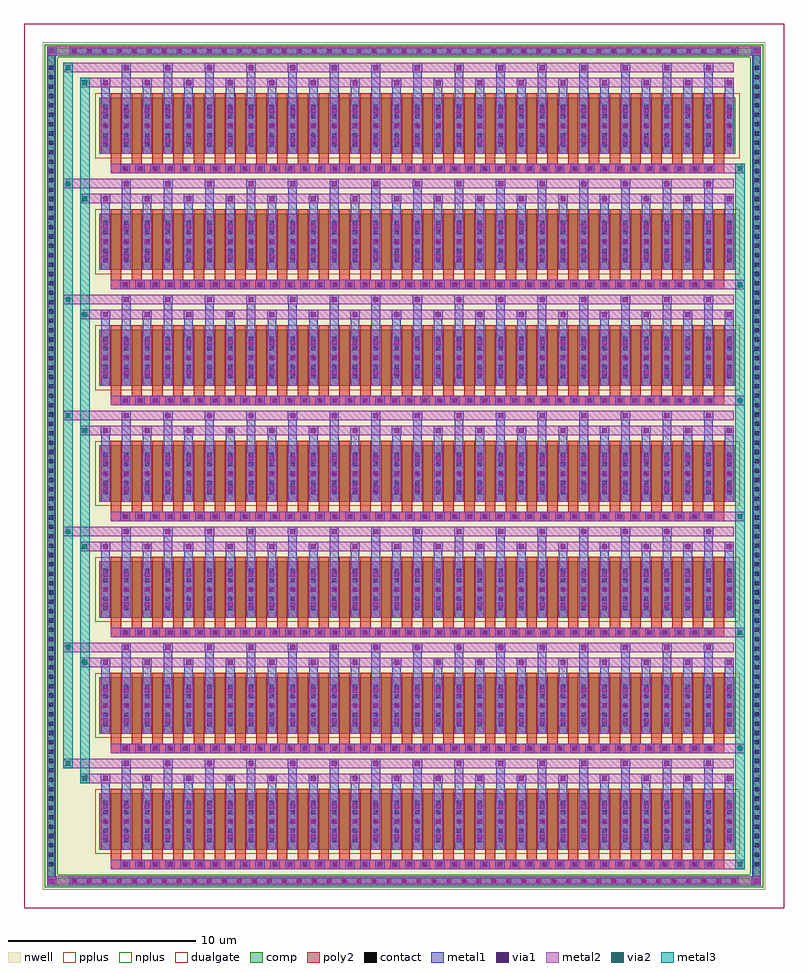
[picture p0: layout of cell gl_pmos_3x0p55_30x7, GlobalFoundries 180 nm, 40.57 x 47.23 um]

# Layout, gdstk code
import gdstk
lib = gdstk.Library(unit=1e-6, precision=1e-09)
def R(c, l, rs):  # rectangles x0, y0, x1, y1
    for r in rs: c.add(gdstk.rectangle(r[:2], r[2:], *l))
def A(c, l, x, y, w, h, nx, ny, dx, dy):  # array of equal rectangles
    R(c, l, [(x+i*dx, y+j*dy, x+i*dx+w, y+j*dy+h) for i in range(nx) for j in range(ny)])
def P(c, l, *ps):  # polygons
    for p in ps: c.add(gdstk.Polygon(p, *l))
nwell = (21, 0)
comp = (22, 0)
poly2 = (30, 0)
pplus = (31, 0)
nplus = (32, 0)
contact = (33, 0)
metal1 = (34, 0)
via1 = (35, 0)
metal2 = (36, 0)
via2 = (38, 0)
metal3 = (42, 0)
dualgate = (55, 0)

gl_pmos_3x0p55_30x7 = lib.new_cell('gl_pmos_3x0p55_30x7')
R(gl_pmos_3x0p55_30x7, nwell, [(-19.285,-22.615,19.285,22.615), (-19.125,-22.455,19.125,22.455)])
A(gl_pmos_3x0p55_30x7, comp, -17.78, -22.335, 0.36, 0.36, 45, 2, 0.8, 44.31)
A(gl_pmos_3x0p55_30x7, comp, -19.005, -21.43, 0.36, 0.36, 1, 86, 0, 0.5)
A(gl_pmos_3x0p55_30x7, comp, 18.645, -21.43, 0.36, 0.36, 1, 86, 0, 0.5)
A(gl_pmos_3x0p55_30x7, comp, -16.255, -20.475, 33.94, 3, 1, 7, 0, 6.19)
R(gl_pmos_3x0p55_30x7, comp, [(-17.78,-22.335,17.78,-21.975), (-19.005,-21.43,-18.645,21.43), (18.645,-21.43,19.005,21.43), (-17.78,21.975,17.78,22.335)])
P(gl_pmos_3x0p55_30x7, comp, [(-19.005,-22.335),(-19.005,-21.975),(-18.645,-21.975),(18.645,-21.975),(18.645,21.975),(-18.645,21.975),(-18.645,-21.975),(-19.005,-21.975),(-19.005,22.335),(19.005,22.335),(19.005,-22.335)])
A(gl_pmos_3x0p55_30x7, poly2, -15.655, -21.515, 32.74, 0.5, 1, 7, 0, 6.19)
A(gl_pmos_3x0p55_30x7, poly2, -15.065, -21.445, 0.36, 0.36, 40, 7, 0.8, 6.19)
A(gl_pmos_3x0p55_30x7, poly2, -15.655, -21.015, 0.55, 0.3, 30, 7, 1.11, 6.19)
A(gl_pmos_3x0p55_30x7, poly2, -15.655, -20.715, 0.55, 3.48, 30, 7, 1.11, 6.19)
A(gl_pmos_3x0p55_30x7, pplus, -16.485, -20.705, 34.4, 3.46, 1, 7, 0, 6.19)
P(gl_pmos_3x0p55_30x7, nplus, [(-19.165,-22.495),(-19.165,-21.815),(-18.485,-21.815),(18.485,-21.815),(18.485,21.815),(-18.485,21.815),(-18.485,-21.815),(-19.165,-21.815),(-19.165,22.495),(19.165,22.495),(19.165,-22.495)])
A(gl_pmos_3x0p55_30x7, contact, -17.71, -22.265, 0.22, 0.22, 45, 2, 0.8, 44.31)
A(gl_pmos_3x0p55_30x7, contact, -14.995, -21.375, 0.22, 0.22, 40, 7, 0.8, 6.19)
A(gl_pmos_3x0p55_30x7, contact, -18.935, -21.36, 0.22, 0.22, 1, 86, 0, 0.5)
A(gl_pmos_3x0p55_30x7, contact, 18.715, -21.36, 0.22, 0.22, 1, 86, 0, 0.5)
A(gl_pmos_3x0p55_30x7, contact, -16.045, -20.085, 0.22, 0.22, 31, 5, 1.11, 0.5)
A(gl_pmos_3x0p55_30x7, contact, -16.045, -13.895, 0.22, 0.22, 31, 5, 1.11, 0.5)
A(gl_pmos_3x0p55_30x7, contact, -16.045, -7.705, 0.22, 0.22, 31, 5, 1.11, 0.5)
A(gl_pmos_3x0p55_30x7, contact, -16.045, -1.515, 0.22, 0.22, 31, 5, 1.11, 0.5)
A(gl_pmos_3x0p55_30x7, contact, -16.045, 4.675, 0.22, 0.22, 31, 5, 1.11, 0.5)
A(gl_pmos_3x0p55_30x7, contact, -16.045, 10.865, 0.22, 0.22, 31, 5, 1.11, 0.5)
A(gl_pmos_3x0p55_30x7, contact, -16.045, 17.055, 0.22, 0.22, 31, 5, 1.11, 0.5)
A(gl_pmos_3x0p55_30x7, metal1, -17.85, -22.405, 0.5, 0.5, 45, 2, 0.8, 44.31)
A(gl_pmos_3x0p55_30x7, metal1, -15.135, -21.515, 0.5, 0.5, 40, 7, 0.8, 6.19)
A(gl_pmos_3x0p55_30x7, metal1, -19.055, -21.48, 0.46, 0.46, 1, 86, 0, 0.5)
A(gl_pmos_3x0p55_30x7, metal1, 18.595, -21.48, 0.46, 0.46, 1, 86, 0, 0.5)
A(gl_pmos_3x0p55_30x7, metal1, -16.165, -20.475, 0.46, 3, 31, 7, 1.11, 6.19)
A(gl_pmos_3x0p55_30x7, metal1, -16.165, -20.205, 0.46, 0.46, 31, 5, 1.11, 0.5)
A(gl_pmos_3x0p55_30x7, metal1, -16.185, -20.025, 0.5, 2.1, 31, 7, 1.11, 6.19)
A(gl_pmos_3x0p55_30x7, metal1, -16.185, -20.025, 0.5, 0.5, 31, 3, 1.11, 0.8)
A(gl_pmos_3x0p55_30x7, metal1, -16.165, -17.475, 0.46, 1.05, 16, 7, 2.22, 6.19)
A(gl_pmos_3x0p55_30x7, metal1, -15.055, -17.475, 0.46, 1.85, 15, 7, 2.22, 6.19)
A(gl_pmos_3x0p55_30x7, metal1, -16.185, -16.925, 0.5, 0.5, 16, 7, 2.22, 6.19)
A(gl_pmos_3x0p55_30x7, metal1, -15.075, -16.125, 0.5, 0.5, 15, 7, 2.22, 6.19)
A(gl_pmos_3x0p55_30x7, metal1, -16.165, -14.015, 0.46, 0.46, 31, 5, 1.11, 0.5)
A(gl_pmos_3x0p55_30x7, metal1, -16.185, -13.835, 0.5, 0.5, 31, 3, 1.11, 0.8)
A(gl_pmos_3x0p55_30x7, metal1, -16.165, -7.825, 0.46, 0.46, 31, 5, 1.11, 0.5)
A(gl_pmos_3x0p55_30x7, metal1, -16.185, -7.645, 0.5, 0.5, 31, 3, 1.11, 0.8)
A(gl_pmos_3x0p55_30x7, metal1, -16.165, -1.635, 0.46, 0.46, 31, 5, 1.11, 0.5)
A(gl_pmos_3x0p55_30x7, metal1, -16.185, -1.455, 0.5, 0.5, 31, 3, 1.11, 0.8)
A(gl_pmos_3x0p55_30x7, metal1, -16.165, 4.555, 0.46, 0.46, 31, 5, 1.11, 0.5)
A(gl_pmos_3x0p55_30x7, metal1, -16.185, 4.735, 0.5, 0.5, 31, 3, 1.11, 0.8)
A(gl_pmos_3x0p55_30x7, metal1, -16.165, 10.745, 0.46, 0.46, 31, 5, 1.11, 0.5)
A(gl_pmos_3x0p55_30x7, metal1, -16.185, 10.925, 0.5, 0.5, 31, 3, 1.11, 0.8)
A(gl_pmos_3x0p55_30x7, metal1, -16.165, 16.935, 0.46, 0.46, 31, 5, 1.11, 0.5)
A(gl_pmos_3x0p55_30x7, metal1, -16.185, 17.115, 0.5, 0.5, 31, 3, 1.11, 0.8)
R(gl_pmos_3x0p55_30x7, metal1, [(-19.055,-22.405,-18.555,-21.905), (-19.055,-22.405,-18.555,-21.905), (-19.055,-22.405,-18.595,-21.975), (-17.85,-22.405,17.85,-21.905), (18.555,-22.405,19.055,-21.905), (18.555,-22.405,19.055,-21.905), (18.595,-22.405,19.055,-21.975), (-19.055,-21.975,-18.595,21.975), (18.595,-21.975,19.055,21.975), (-19.055,21.905,-18.555,22.405), (-19.055,21.905,-18.555,22.405), (-17.85,21.905,17.85,22.405), (18.555,21.905,19.055,22.405), (18.555,21.905,19.055,22.405), (-19.055,21.975,-18.595,22.405), (18.595,21.975,19.055,22.405)])
A(gl_pmos_3x0p55_30x7, via1, -17.73, -22.285, 0.26, 0.26, 45, 2, 0.8, 44.31)
A(gl_pmos_3x0p55_30x7, via1, -15.015, -21.395, 0.26, 0.26, 40, 7, 0.8, 6.19)
A(gl_pmos_3x0p55_30x7, via1, -16.065, -19.905, 0.26, 0.26, 31, 3, 1.11, 0.8)
A(gl_pmos_3x0p55_30x7, via1, -16.065, -16.805, 0.26, 0.26, 16, 7, 2.22, 6.19)
A(gl_pmos_3x0p55_30x7, via1, -14.955, -16.005, 0.26, 0.26, 15, 7, 2.22, 6.19)
A(gl_pmos_3x0p55_30x7, via1, -16.065, -13.715, 0.26, 0.26, 31, 3, 1.11, 0.8)
A(gl_pmos_3x0p55_30x7, via1, -16.065, -7.525, 0.26, 0.26, 31, 3, 1.11, 0.8)
A(gl_pmos_3x0p55_30x7, via1, -16.065, -1.335, 0.26, 0.26, 31, 3, 1.11, 0.8)
A(gl_pmos_3x0p55_30x7, via1, -16.065, 4.855, 0.26, 0.26, 31, 3, 1.11, 0.8)
A(gl_pmos_3x0p55_30x7, via1, -16.065, 11.045, 0.26, 0.26, 31, 3, 1.11, 0.8)
A(gl_pmos_3x0p55_30x7, via1, -16.065, 17.235, 0.26, 0.26, 31, 3, 1.11, 0.8)
R(gl_pmos_3x0p55_30x7, via1, [(-18.935,-22.285,-18.675,-22.025), (18.675,-22.285,18.935,-22.025), (-18.935,22.025,-18.675,22.285), (18.675,22.025,18.935,22.285)])
A(gl_pmos_3x0p55_30x7, metal2, -17.85, -22.405, 0.5, 0.5, 45, 2, 0.8, 44.31)
A(gl_pmos_3x0p55_30x7, metal2, -15.655, -21.515, 32.74, 0.5, 1, 7, 0, 6.19)
A(gl_pmos_3x0p55_30x7, metal2, -15.135, -21.515, 0.5, 0.5, 40, 7, 0.8, 6.19)
A(gl_pmos_3x0p55_30x7, metal2, -16.185, -20.475, 0.5, 3, 31, 7, 1.11, 6.19)
A(gl_pmos_3x0p55_30x7, metal2, -16.185, -20.025, 0.5, 0.5, 31, 3, 1.11, 0.8)
A(gl_pmos_3x0p55_30x7, metal2, -16.185, -16.925, 0.5, 0.5, 16, 7, 2.22, 6.19)
A(gl_pmos_3x0p55_30x7, metal2, -15.075, -16.125, 0.5, 0.5, 15, 7, 2.22, 6.19)
A(gl_pmos_3x0p55_30x7, metal2, -16.185, -13.835, 0.5, 0.5, 31, 3, 1.11, 0.8)
A(gl_pmos_3x0p55_30x7, metal2, -16.185, -7.645, 0.5, 0.5, 31, 3, 1.11, 0.8)
A(gl_pmos_3x0p55_30x7, metal2, -16.185, -1.455, 0.5, 0.5, 31, 3, 1.11, 0.8)
A(gl_pmos_3x0p55_30x7, metal2, -16.185, 4.735, 0.5, 0.5, 31, 3, 1.11, 0.8)
A(gl_pmos_3x0p55_30x7, metal2, -16.185, 10.925, 0.5, 0.5, 31, 3, 1.11, 0.8)
A(gl_pmos_3x0p55_30x7, metal2, -16.185, 17.115, 0.5, 0.5, 31, 3, 1.11, 0.8)
R(gl_pmos_3x0p55_30x7, metal2, [(-19.055,-22.405,-18.555,-21.905), (-19.055,-22.405,-18.555,-21.905), (-19.055,-22.405,-18.645,-21.905), (-18.645,-22.405,18.645,-21.905), (18.555,-22.405,19.055,-21.905), (18.555,-22.405,19.055,-21.905), (18.645,-22.405,19.055,-21.905), (17.085,-21.515,18.185,-21.015), (17.685,-21.515,18.185,-21.015), (-17.285,-16.925,-16.785,-16.425), (-17.285,-16.925,-16.185,-16.425), (-16.185,-16.925,17.615,-16.425), (-18.185,-16.125,-17.685,-15.625), (-18.185,-16.125,-16.185,-15.625), (-16.185,-16.125,17.615,-15.625), (17.085,-15.325,18.185,-14.825), (17.085,-15.325,18.185,-14.825), (17.685,-15.325,18.185,-14.825), (17.685,-15.325,18.185,-14.825), (-17.285,-10.735,-16.785,-10.235), (-17.285,-10.735,-16.785,-10.235), (-17.285,-10.735,-16.185,-10.235), (-17.285,-10.735,-16.185,-10.235), (-16.185,-10.735,17.615,-10.235), (-18.185,-9.935,-17.685,-9.435), (-18.185,-9.935,-17.685,-9.435), (-18.185,-9.935,-16.185,-9.435), (-18.185,-9.935,-16.185,-9.435), (-16.185,-9.935,17.615,-9.435), (17.085,-9.135,18.185,-8.635), (17.085,-9.135,18.185,-8.635), (17.685,-9.135,18.185,-8.635), (17.685,-9.135,18.185,-8.635), (-17.285,-4.545,-16.785,-4.045), (-17.285,-4.545,-16.785,-4.045), (-17.285,-4.545,-16.185,-4.045), (-17.285,-4.545,-16.185,-4.045), (-16.185,-4.545,17.615,-4.045), (-18.185,-3.745,-17.685,-3.245), (-18.185,-3.745,-17.685,-3.245), (-18.185,-3.745,-16.185,-3.245), (-18.185,-3.745,-16.185,-3.245), (-16.185,-3.745,17.615,-3.245), (17.085,-2.945,18.185,-2.445), (17.085,-2.945,18.185,-2.445), (17.685,-2.945,18.185,-2.445), (17.685,-2.945,18.185,-2.445), (-17.285,1.645,-16.785,2.145), (-17.285,1.645,-16.785,2.145), (-17.285,1.645,-16.185,2.145), (-17.285,1.645,-16.185,2.145), (-16.185,1.645,17.615,2.145), (-18.185,2.445,-17.685,2.945), (-18.185,2.445,-17.685,2.945), (-18.185,2.445,-16.185,2.945), (-18.185,2.445,-16.185,2.945), (-16.185,2.445,17.615,2.945), (17.085,3.245,18.185,3.745), (17.085,3.245,18.185,3.745), (17.685,3.245,18.185,3.745), (17.685,3.245,18.185,3.745), (-17.285,7.835,-16.785,8.335), (-17.285,7.835,-16.785,8.335), (-17.285,7.835,-16.185,8.335), (-17.285,7.835,-16.185,8.335), (-16.185,7.835,17.615,8.335), (-18.185,8.635,-17.685,9.135), (-18.185,8.635,-17.685,9.135), (-18.185,8.635,-16.185,9.135), (-18.185,8.635,-16.185,9.135), (-16.185,8.635,17.615,9.135), (17.085,9.435,18.185,9.935), (17.085,9.435,18.185,9.935), (17.685,9.435,18.185,9.935), (17.685,9.435,18.185,9.935), (-17.285,14.025,-16.785,14.525), (-17.285,14.025,-16.785,14.525), (-17.285,14.025,-16.185,14.525), (-17.285,14.025,-16.185,14.525), (-16.185,14.025,17.615,14.525), (-18.185,14.825,-17.685,15.325), (-18.185,14.825,-17.685,15.325), (-18.185,14.825,-16.185,15.325), (-18.185,14.825,-16.185,15.325), (-16.185,14.825,17.615,15.325), (17.085,15.625,18.185,16.125), (17.685,15.625,18.185,16.125), (-17.285,20.215,-16.785,20.715), (-17.285,20.215,-16.185,20.715), (-16.185,20.215,17.615,20.715), (-18.185,21.015,-17.685,21.515), (-18.185,21.015,-16.185,21.515), (-16.185,21.015,17.615,21.515), (-19.055,21.905,-18.555,22.405), (-19.055,21.905,-18.555,22.405), (-19.055,21.905,-18.645,22.405), (-18.645,21.905,18.645,22.405), (18.555,21.905,19.055,22.405), (18.555,21.905,19.055,22.405), (18.645,21.905,19.055,22.405)])
R(gl_pmos_3x0p55_30x7, via2, [(17.805,-21.395,18.065,-21.135), (-17.165,-16.805,-16.905,-16.545), (-18.065,-16.005,-17.805,-15.745), (17.805,-15.205,18.065,-14.945), (17.805,-15.205,18.065,-14.945), (-17.165,-10.615,-16.905,-10.355), (-17.165,-10.615,-16.905,-10.355), (-18.065,-9.815,-17.805,-9.555), (-18.065,-9.815,-17.805,-9.555), (17.805,-9.015,18.065,-8.755), (17.805,-9.015,18.065,-8.755), (-17.165,-4.425,-16.905,-4.165), (-17.165,-4.425,-16.905,-4.165), (-18.065,-3.625,-17.805,-3.365), (-18.065,-3.625,-17.805,-3.365), (17.805,-2.825,18.065,-2.565), (17.805,-2.825,18.065,-2.565), (-17.165,1.765,-16.905,2.025), (-17.165,1.765,-16.905,2.025), (-18.065,2.565,-17.805,2.825), (-18.065,2.565,-17.805,2.825), (17.805,3.365,18.065,3.625), (17.805,3.365,18.065,3.625), (-17.165,7.955,-16.905,8.215), (-17.165,7.955,-16.905,8.215), (-18.065,8.755,-17.805,9.015), (-18.065,8.755,-17.805,9.015), (17.805,9.555,18.065,9.815), (17.805,9.555,18.065,9.815), (-17.165,14.145,-16.905,14.405), (-17.165,14.145,-16.905,14.405), (-18.065,14.945,-17.805,15.205), (-18.065,14.945,-17.805,15.205), (17.805,15.745,18.065,16.005), (-17.165,20.335,-16.905,20.595), (-18.065,21.135,-17.805,21.395)])
A(gl_pmos_3x0p55_30x7, metal3, 17.685, -21.515, 0.5, 6.69, 1, 6, 0, 6.19)
A(gl_pmos_3x0p55_30x7, metal3, -17.285, -16.925, 0.5, 6.69, 1, 6, 0, 6.19)
A(gl_pmos_3x0p55_30x7, metal3, -18.185, -16.125, 0.5, 6.69, 1, 6, 0, 6.19)
R(gl_pmos_3x0p55_30x7, metal3, [(17.685,-21.515,18.185,-21.015), (17.685,-21.515,18.185,-21.015), (-17.285,-16.925,-16.785,-16.425), (-17.285,-16.925,-16.785,-16.425), (-18.185,-16.125,-17.685,-15.625), (-18.185,-16.125,-17.685,-15.625), (17.685,-15.325,18.185,-14.825), (17.685,-15.325,18.185,-14.825), (17.685,-15.325,18.185,-14.825), (17.685,-15.325,18.185,-14.825), (-17.285,-10.735,-16.785,-10.235), (-17.285,-10.735,-16.785,-10.235), (-17.285,-10.735,-16.785,-10.235), (-17.285,-10.735,-16.785,-10.235), (-18.185,-9.935,-17.685,-9.435), (-18.185,-9.935,-17.685,-9.435), (-18.185,-9.935,-17.685,-9.435), (-18.185,-9.935,-17.685,-9.435), (17.685,-9.135,18.185,-8.635), (17.685,-9.135,18.185,-8.635), (17.685,-9.135,18.185,-8.635), (17.685,-9.135,18.185,-8.635), (-17.285,-4.545,-16.785,-4.045), (-17.285,-4.545,-16.785,-4.045), (-17.285,-4.545,-16.785,-4.045), (-17.285,-4.545,-16.785,-4.045), (-18.185,-3.745,-17.685,-3.245), (-18.185,-3.745,-17.685,-3.245), (-18.185,-3.745,-17.685,-3.245), (-18.185,-3.745,-17.685,-3.245), (17.685,-2.945,18.185,-2.445), (17.685,-2.945,18.185,-2.445), (17.685,-2.945,18.185,-2.445), (17.685,-2.945,18.185,-2.445), (-17.285,1.645,-16.785,2.145), (-17.285,1.645,-16.785,2.145), (-17.285,1.645,-16.785,2.145), (-17.285,1.645,-16.785,2.145), (-18.185,2.445,-17.685,2.945), (-18.185,2.445,-17.685,2.945), (-18.185,2.445,-17.685,2.945), (-18.185,2.445,-17.685,2.945), (17.685,3.245,18.185,3.745), (17.685,3.245,18.185,3.745), (17.685,3.245,18.185,3.745), (17.685,3.245,18.185,3.745), (-17.285,7.835,-16.785,8.335), (-17.285,7.835,-16.785,8.335), (-17.285,7.835,-16.785,8.335), (-17.285,7.835,-16.785,8.335), (-18.185,8.635,-17.685,9.135), (-18.185,8.635,-17.685,9.135), (-18.185,8.635,-17.685,9.135), (-18.185,8.635,-17.685,9.135), (17.685,9.435,18.185,9.935), (17.685,9.435,18.185,9.935), (17.685,9.435,18.185,9.935), (17.685,9.435,18.185,9.935), (-17.285,14.025,-16.785,14.525), (-17.285,14.025,-16.785,14.525), (-17.285,14.025,-16.785,14.525), (-17.285,14.025,-16.785,14.525), (-18.185,14.825,-17.685,15.325), (-18.185,14.825,-17.685,15.325), (-18.185,14.825,-17.685,15.325), (-18.185,14.825,-17.685,15.325), (17.685,15.625,18.185,16.125), (17.685,15.625,18.185,16.125), (-17.285,20.215,-16.785,20.715), (-17.285,20.215,-16.785,20.715), (-18.185,21.015,-17.685,21.515), (-18.185,21.015,-17.685,21.515)])
P(gl_pmos_3x0p55_30x7, metal3, [(18.185,15.625),(18.185,16.125),(18.185,16.125),(18.185,15.625)],
  [(18.185,3.245),(18.185,3.745),(18.185,3.745),(18.185,3.245)],
  [(18.185,9.435),(18.185,9.935),(18.185,9.935),(18.185,9.435)],
  [(18.185,3.245),(18.185,3.745),(18.185,3.745),(18.185,3.245)],
  [(18.185,9.435),(18.185,9.935),(18.185,9.935),(18.185,9.435)],
  [(-17.685,14.825),(-17.685,15.325),(-17.685,15.325),(-17.685,14.825)],
  [(-17.685,21.015),(-17.685,21.515),(-17.685,21.515),(-17.685,21.015)],
  [(-17.685,8.635),(-17.685,9.135),(-17.685,9.135),(-17.685,8.635)],
  [(-17.685,14.825),(-17.685,15.325),(-17.685,15.325),(-17.685,14.825)],
  [(-16.785,7.835),(-16.785,8.335),(-16.785,8.335),(-16.785,7.835)],
  [(-16.785,14.025),(-16.785,14.525),(-16.785,14.525),(-16.785,14.025)],
  [(-16.785,14.025),(-16.785,14.525),(-16.785,14.525),(-16.785,14.025)],
  [(-16.785,20.215),(-16.785,20.715),(-16.785,20.715),(-16.785,20.215)],
  [(-17.685,2.445),(-17.685,2.945),(-17.685,2.945),(-17.685,2.445)],
  [(-17.685,8.635),(-17.685,9.135),(-17.685,9.135),(-17.685,8.635)],
  [(-16.785,1.645),(-16.785,2.145),(-16.785,2.145),(-16.785,1.645)],
  [(-16.785,7.835),(-16.785,8.335),(-16.785,8.335),(-16.785,7.835)],
  [(-17.685,2.445),(-17.685,2.945),(-17.685,2.945),(-17.685,2.445)],
  [(-16.785,1.645),(-16.785,2.145),(-16.785,2.145),(-16.785,1.645)],
  [(-16.785,-4.545),(-16.785,-4.045),(-16.785,-4.045),(-16.785,-4.545)],
  [(-17.685,-3.745),(-17.685,-3.245),(-17.685,-3.245),(-17.685,-3.745)],
  [(-17.685,-9.935),(-17.685,-9.435),(-17.685,-9.435),(-17.685,-9.935)],
  [(-17.685,-3.745),(-17.685,-3.245),(-17.685,-3.245),(-17.685,-3.745)],
  [(-16.785,-10.735),(-16.785,-10.235),(-16.785,-10.235),(-16.785,-10.735)],
  [(-16.785,-4.545),(-16.785,-4.045),(-16.785,-4.045),(-16.785,-4.545)],
  [(-17.685,-16.125),(-17.685,-15.625),(-17.685,-15.625),(-17.685,-16.125)],
  [(-17.685,-9.935),(-17.685,-9.435),(-17.685,-9.435),(-17.685,-9.935)],
  [(-16.785,-16.925),(-16.785,-16.425),(-16.785,-16.425),(-16.785,-16.925)],
  [(-16.785,-10.735),(-16.785,-10.235),(-16.785,-10.235),(-16.785,-10.735)],
  [(18.185,-15.325),(18.185,-14.825),(18.185,-14.825),(18.185,-15.325)],
  [(18.185,-9.135),(18.185,-8.635),(18.185,-8.635),(18.185,-9.135)],
  [(18.185,-21.515),(18.185,-21.015),(18.185,-21.015),(18.185,-21.515)],
  [(18.185,-15.325),(18.185,-14.825),(18.185,-14.825),(18.185,-15.325)],
  [(18.185,-9.135),(18.185,-8.635),(18.185,-8.635),(18.185,-9.135)],
  [(18.185,-2.945),(18.185,-2.445),(18.185,-2.445),(18.185,-2.945)],
  [(18.185,-2.945),(18.185,-2.445),(18.185,-2.445),(18.185,-2.945)])
R(gl_pmos_3x0p55_30x7, dualgate, [(-20.285,-23.615,20.285,23.615)])

lib.write_gds('gl_pmos_3x0p55_30x7.gds')
